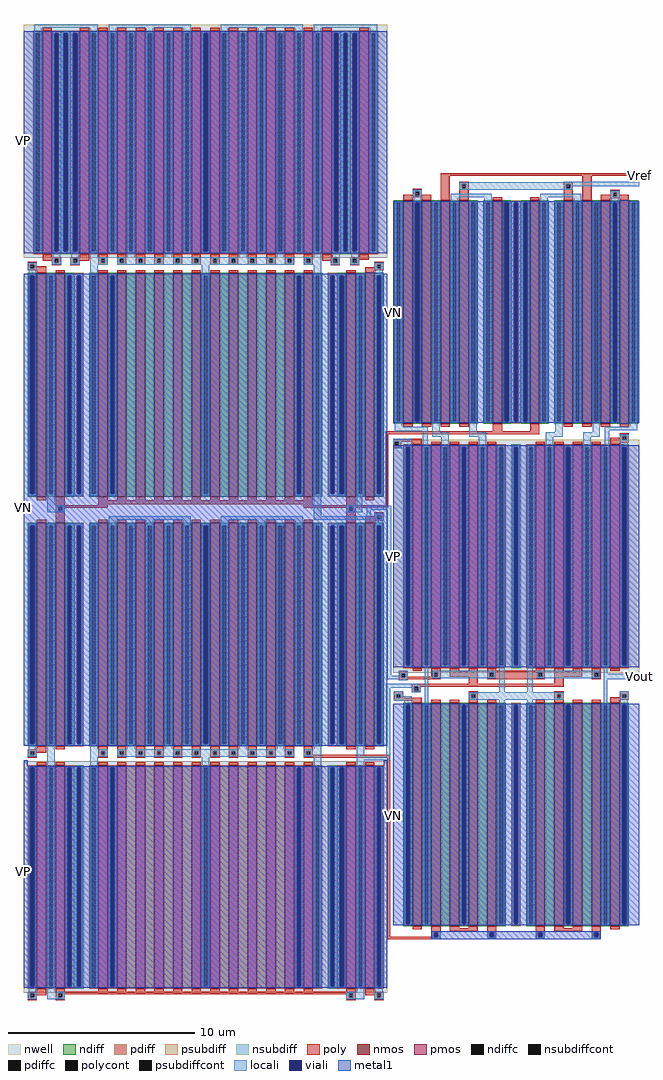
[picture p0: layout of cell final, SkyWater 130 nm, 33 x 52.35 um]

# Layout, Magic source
magic
tech sky130A
<< poly >>
rect 3240 4390 3290 4405
rect 1930 3005 2030 3020
rect 1930 2610 1945 3005
rect 1940 310 1955 1285
rect 1940 295 2060 310
<< locali >>
rect 3240 4335 3290 4360
rect 1940 1710 1960 2620
rect 1940 1690 2015 1710
rect 3240 1690 3290 1720
rect 1935 1645 2015 1665
rect 1935 1255 1955 1645
<< metal1 >>
rect -10 3975 10 5165
rect 1920 3975 1940 5165
rect -10 1365 10 3865
rect 1970 3065 1990 4255
rect 3270 3065 3290 4255
rect 1970 2715 1990 2945
rect 1970 1755 1990 2605
rect 3270 1755 3290 2945
rect -10 65 10 1255
rect 1920 65 1940 1255
rect 1970 370 1990 1560
rect 3270 370 3290 1560
use diff_amp  diff_amp_0
transform 1 0 2800 0 1 365
box -830 -70 490 4040
use v_gen  v_gen_0
transform 1 0 360 0 1 2530
box -370 -2560 1580 2675
<< labels >>
rlabel metal1 -10 4580 -10 4580 7 VP
rlabel metal1 -10 660 -10 660 7 VP
rlabel metal1 1970 2350 1970 2350 7 VP
rlabel metal1 -10 2610 -10 2610 7 VN
rlabel metal1 1970 960 1970 960 7 VN
rlabel metal1 1970 3660 1970 3660 7 VN
rlabel poly 3290 4395 3290 4395 3 Vref
rlabel locali 3290 4350 3290 4350 3 Vin
rlabel locali 3290 1705 3290 1705 3 Vout
<< end >>

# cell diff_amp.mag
magic
tech sky130A
<< nwell >>
rect -830 1360 490 2610
<< nmos >>
rect -775 2695 -725 3895
rect -675 2695 -625 3895
rect -575 2695 -525 3895
rect -475 2695 -425 3895
rect -295 2695 -245 3895
rect -95 2695 -45 3895
rect 85 2695 135 3895
rect 185 2695 235 3895
rect 285 2695 335 3895
rect 385 2695 435 3895
rect -725 0 -675 1200
rect -625 0 -575 1200
rect -525 0 -475 1200
rect -425 0 -375 1200
rect -325 0 -275 1200
rect -65 0 -15 1200
rect 35 0 85 1200
rect 135 0 185 1200
rect 235 0 285 1200
rect 335 0 385 1200
<< pmos >>
rect -725 1385 -675 2585
rect -625 1385 -575 2585
rect -525 1385 -475 2585
rect -425 1385 -375 2585
rect -325 1385 -275 2585
rect -65 1385 -15 2585
rect 35 1385 85 2585
rect 135 1385 185 2585
rect 235 1385 285 2585
rect 335 1385 385 2585
<< ndiff >>
rect -825 3880 -775 3895
rect -825 2710 -810 3880
rect -790 2710 -775 3880
rect -825 2695 -775 2710
rect -725 3880 -675 3895
rect -725 2710 -710 3880
rect -690 2710 -675 3880
rect -725 2695 -675 2710
rect -625 3880 -575 3895
rect -625 2710 -610 3880
rect -590 2710 -575 3880
rect -625 2695 -575 2710
rect -525 3880 -475 3895
rect -525 2710 -510 3880
rect -490 2710 -475 3880
rect -525 2695 -475 2710
rect -425 3880 -375 3895
rect -425 2710 -410 3880
rect -390 2710 -375 3880
rect -425 2695 -375 2710
rect -345 3880 -295 3895
rect -345 2710 -330 3880
rect -310 2710 -295 3880
rect -345 2695 -295 2710
rect -245 3880 -195 3895
rect -145 3880 -95 3895
rect -245 2710 -230 3880
rect -210 2710 -195 3880
rect -145 2710 -130 3880
rect -110 2710 -95 3880
rect -245 2695 -195 2710
rect -145 2695 -95 2710
rect -45 3880 5 3895
rect -45 2710 -30 3880
rect -10 2710 5 3880
rect -45 2695 5 2710
rect 35 3880 85 3895
rect 35 2710 50 3880
rect 70 2710 85 3880
rect 35 2695 85 2710
rect 135 3880 185 3895
rect 135 2710 150 3880
rect 170 2710 185 3880
rect 135 2695 185 2710
rect 235 3880 285 3895
rect 235 2710 250 3880
rect 270 2710 285 3880
rect 235 2695 285 2710
rect 335 3880 385 3895
rect 335 2710 350 3880
rect 370 2710 385 3880
rect 335 2695 385 2710
rect 435 3880 485 3895
rect 435 2710 450 3880
rect 470 2710 485 3880
rect 435 2695 485 2710
rect -775 1185 -725 1200
rect -775 15 -760 1185
rect -740 15 -725 1185
rect -775 0 -725 15
rect -675 1185 -625 1200
rect -675 15 -660 1185
rect -640 15 -625 1185
rect -675 0 -625 15
rect -575 0 -525 1200
rect -475 1185 -425 1200
rect -475 15 -460 1185
rect -440 15 -425 1185
rect -475 0 -425 15
rect -375 0 -325 1200
rect -275 1185 -225 1200
rect -275 15 -260 1185
rect -240 15 -225 1185
rect -275 0 -225 15
rect -115 1185 -65 1200
rect -115 15 -100 1185
rect -80 15 -65 1185
rect -115 0 -65 15
rect -15 0 35 1200
rect 85 1185 135 1200
rect 85 15 100 1185
rect 120 15 135 1185
rect 85 0 135 15
rect 185 0 235 1200
rect 285 1185 335 1200
rect 285 15 300 1185
rect 320 15 335 1185
rect 285 0 335 15
rect 385 1185 435 1200
rect 385 15 400 1185
rect 420 15 435 1185
rect 385 0 435 15
<< pdiff >>
rect -775 2570 -725 2585
rect -775 1400 -760 2570
rect -740 1400 -725 2570
rect -775 1385 -725 1400
rect -675 2570 -625 2585
rect -675 1400 -660 2570
rect -640 1400 -625 2570
rect -675 1385 -625 1400
rect -575 2570 -525 2585
rect -575 1400 -560 2570
rect -540 1400 -525 2570
rect -575 1385 -525 1400
rect -475 2570 -425 2585
rect -475 1400 -460 2570
rect -440 1400 -425 2570
rect -475 1385 -425 1400
rect -375 2570 -325 2585
rect -375 1400 -360 2570
rect -340 1400 -325 2570
rect -375 1385 -325 1400
rect -275 2570 -225 2585
rect -275 1400 -260 2570
rect -240 1400 -225 2570
rect -275 1390 -225 1400
rect -275 1385 -230 1390
rect -115 2570 -65 2585
rect -115 1400 -100 2570
rect -80 1400 -65 2570
rect -115 1385 -65 1400
rect -15 2570 35 2585
rect -15 1400 0 2570
rect 20 1400 35 2570
rect -15 1385 35 1400
rect 85 2570 135 2585
rect 85 1400 100 2570
rect 120 1400 135 2570
rect 85 1385 135 1400
rect 185 2570 235 2585
rect 185 1400 200 2570
rect 220 1400 235 2570
rect 185 1385 235 1400
rect 285 2570 335 2585
rect 285 1400 300 2570
rect 320 1400 335 2570
rect 285 1385 335 1400
rect 385 2570 435 2585
rect 385 1400 400 2570
rect 420 1400 435 2570
rect 385 1385 435 1400
<< ndiffc >>
rect -810 2710 -790 3880
rect -710 2710 -690 3880
rect -610 2710 -590 3880
rect -510 2710 -490 3880
rect -410 2710 -390 3880
rect -330 2710 -310 3880
rect -230 2710 -210 3880
rect -130 2710 -110 3880
rect -30 2710 -10 3880
rect 50 2710 70 3880
rect 150 2710 170 3880
rect 250 2710 270 3880
rect 350 2710 370 3880
rect 450 2710 470 3880
rect -760 15 -740 1185
rect -660 15 -640 1185
rect -460 15 -440 1185
rect -260 15 -240 1185
rect -100 15 -80 1185
rect 100 15 120 1185
rect 300 15 320 1185
rect 400 15 420 1185
<< pdiffc >>
rect -760 1400 -740 2570
rect -660 1400 -640 2570
rect -560 1400 -540 2570
rect -460 1400 -440 2570
rect -360 1400 -340 2570
rect -260 1400 -240 2570
rect -100 1400 -80 2570
rect 0 1400 20 2570
rect 100 1400 120 2570
rect 200 1400 220 2570
rect 300 1400 320 2570
rect 400 1400 420 2570
<< psubdiff >>
rect -195 3880 -145 3895
rect -195 2710 -180 3880
rect -160 2710 -145 3880
rect -195 2695 -145 2710
rect -195 1185 -145 1200
rect -195 15 -180 1185
rect -160 15 -145 1185
rect -195 0 -145 15
<< nsubdiff >>
rect -195 2570 -145 2585
rect -195 1400 -180 2570
rect -160 1400 -145 2570
rect -195 1385 -145 1400
<< psubdiffcont >>
rect -180 2710 -160 3880
rect -180 15 -160 1185
<< nsubdiffcont >>
rect -180 1400 -160 2570
<< poly >>
rect -575 4025 490 4040
rect -725 3940 -675 3955
rect -725 3925 -710 3940
rect -775 3920 -710 3925
rect -690 3925 -675 3940
rect -690 3920 -625 3925
rect -775 3910 -625 3920
rect -775 3895 -725 3910
rect -675 3895 -625 3910
rect -575 3895 -525 4025
rect -475 3980 -425 3995
rect -475 3960 -460 3980
rect -440 3960 -425 3980
rect -475 3895 -425 3960
rect 85 3980 135 3995
rect 85 3960 100 3980
rect 120 3960 135 3980
rect -295 3895 -245 3910
rect -95 3895 -45 3910
rect 85 3895 135 3960
rect 185 3895 235 4025
rect 335 3935 385 3950
rect 335 3925 350 3935
rect 285 3915 350 3925
rect 370 3925 385 3935
rect 370 3915 435 3925
rect 285 3905 435 3915
rect 285 3895 335 3905
rect 385 3895 435 3905
rect -775 2680 -725 2695
rect -675 2680 -625 2695
rect -575 2680 -525 2695
rect -475 2680 -425 2695
rect -295 2655 -245 2695
rect -95 2655 -45 2695
rect 85 2680 135 2695
rect 185 2680 235 2695
rect 285 2680 335 2695
rect 385 2680 435 2695
rect -830 2640 -45 2655
rect 385 2630 435 2645
rect 385 2620 400 2630
rect -830 2600 -675 2615
rect 335 2610 400 2620
rect 420 2610 435 2630
rect -830 2580 -820 2600
rect -800 2580 -785 2600
rect -725 2585 -675 2600
rect -625 2585 -575 2600
rect -525 2585 -475 2600
rect -425 2585 -375 2600
rect -325 2585 -275 2600
rect -65 2585 -15 2600
rect 35 2585 85 2600
rect 135 2585 185 2600
rect 235 2585 285 2600
rect 335 2595 435 2610
rect 335 2585 385 2595
rect -830 2565 -785 2580
rect -725 1370 -675 1385
rect -800 1355 -750 1370
rect -800 1335 -785 1355
rect -765 1340 -750 1355
rect -625 1360 -575 1385
rect -625 1340 -610 1360
rect -590 1340 -575 1360
rect -525 1370 -475 1385
rect -425 1370 -375 1385
rect -525 1340 -375 1370
rect -765 1335 -575 1340
rect -800 1325 -575 1335
rect -800 1320 -750 1325
rect -425 1300 -375 1340
rect -325 1370 -275 1385
rect -65 1370 -15 1385
rect -325 1360 -15 1370
rect -325 1340 -310 1360
rect -290 1340 -50 1360
rect -30 1340 -15 1360
rect -325 1325 -15 1340
rect 35 1370 85 1385
rect 135 1370 185 1385
rect 35 1340 185 1370
rect 235 1360 285 1385
rect 335 1370 385 1385
rect 235 1340 250 1360
rect 270 1340 285 1360
rect 35 1300 85 1340
rect 235 1325 285 1340
rect -730 1285 85 1300
rect -730 1265 -715 1285
rect -695 1265 -680 1285
rect -825 1245 -775 1260
rect -730 1255 -680 1265
rect -825 1225 -810 1245
rect -790 1225 -775 1245
rect -425 1245 -375 1260
rect -425 1225 -410 1245
rect -390 1225 -375 1245
rect -825 1210 -675 1225
rect -725 1200 -675 1210
rect -625 1200 -575 1215
rect -525 1200 -475 1215
rect -425 1200 -375 1225
rect 35 1245 85 1260
rect 35 1225 50 1245
rect 70 1225 85 1245
rect 385 1245 435 1260
rect 385 1230 400 1245
rect -325 1200 -275 1215
rect -65 1200 -15 1215
rect 35 1200 85 1225
rect 335 1225 400 1230
rect 420 1225 435 1245
rect 335 1215 435 1225
rect 135 1200 185 1215
rect 235 1200 285 1215
rect 335 1200 385 1215
rect -725 -15 -675 0
rect -625 -35 -575 0
rect -525 -10 -475 0
rect -425 -10 -375 0
rect -525 -25 -375 -10
rect -625 -55 -610 -35
rect -590 -55 -575 -35
rect -830 -70 -575 -55
rect -325 -35 -275 0
rect -325 -55 -310 -35
rect -290 -55 -275 -35
rect -325 -70 -275 -55
rect -65 -35 -15 0
rect 35 -10 85 0
rect 135 -10 185 0
rect 35 -25 185 -10
rect -65 -55 -50 -35
rect -30 -55 -15 -35
rect -65 -70 -15 -55
rect 235 -35 285 0
rect 335 -15 385 0
rect 235 -55 250 -35
rect 270 -55 285 -35
rect 235 -70 285 -55
<< polycont >>
rect -710 3920 -690 3940
rect -460 3960 -440 3980
rect 100 3960 120 3980
rect 350 3915 370 3935
rect 400 2610 420 2630
rect -820 2580 -800 2600
rect -785 1335 -765 1355
rect -610 1340 -590 1360
rect -310 1340 -290 1360
rect -50 1340 -30 1360
rect 250 1340 270 1360
rect -715 1265 -695 1285
rect -810 1225 -790 1245
rect -410 1225 -390 1245
rect 50 1225 70 1245
rect 400 1225 420 1245
rect -610 -55 -590 -35
rect -310 -55 -290 -35
rect -50 -55 -30 -35
rect 250 -55 270 -35
<< locali >>
rect 85 3990 490 3995
rect -475 3980 490 3990
rect -475 3960 -460 3980
rect -440 3960 100 3980
rect 120 3970 490 3980
rect 120 3960 135 3970
rect -475 3950 135 3960
rect -725 3940 -675 3950
rect -725 3920 -710 3940
rect -690 3920 -675 3940
rect 335 3935 385 3945
rect -725 3910 -675 3920
rect -520 3910 -300 3930
rect -820 3880 -780 3890
rect -820 2710 -810 3880
rect -790 2710 -780 3880
rect -820 2680 -780 2710
rect -720 3880 -680 3910
rect -720 2710 -710 3880
rect -690 2710 -680 3880
rect -720 2700 -680 2710
rect -620 3880 -580 3890
rect -620 2710 -610 3880
rect -590 2710 -580 3880
rect -820 2655 -645 2680
rect -830 2600 -730 2615
rect -830 2580 -820 2600
rect -800 2580 -730 2600
rect -830 2570 -730 2580
rect -830 2565 -760 2570
rect -770 1400 -760 2565
rect -740 1400 -730 2570
rect -770 1390 -730 1400
rect -670 2580 -645 2655
rect -620 2650 -580 2710
rect -520 3880 -480 3910
rect -520 2710 -510 3880
rect -490 2710 -480 3880
rect -520 2700 -480 2710
rect -420 3880 -380 3890
rect -420 2710 -410 3880
rect -390 2710 -380 3880
rect -420 2650 -380 2710
rect -340 3880 -300 3910
rect -40 3910 180 3930
rect -340 2710 -330 3880
rect -310 2710 -300 3880
rect -340 2700 -300 2710
rect -240 3880 -100 3890
rect -240 2710 -230 3880
rect -210 2710 -180 3880
rect -160 2710 -130 3880
rect -110 2710 -100 3880
rect -240 2700 -100 2710
rect -40 3880 0 3910
rect -40 2710 -30 3880
rect -10 2710 0 3880
rect -40 2700 0 2710
rect 40 3880 80 3890
rect 40 2710 50 3880
rect 70 2710 80 3880
rect 40 2650 80 2710
rect 140 3880 180 3910
rect 335 3915 350 3935
rect 370 3915 385 3935
rect 335 3905 385 3915
rect 140 2710 150 3880
rect 170 2710 180 3880
rect 140 2700 180 2710
rect 240 3880 280 3890
rect 240 2710 250 3880
rect 270 2710 280 3880
rect 240 2650 280 2710
rect 340 3880 380 3905
rect 340 2710 350 3880
rect 370 2710 380 3880
rect 340 2700 380 2710
rect 440 3880 480 3890
rect 440 2710 450 3880
rect 470 2710 480 3880
rect 440 2680 480 2710
rect -620 2625 -530 2650
rect -420 2625 -330 2650
rect -670 2570 -630 2580
rect -670 1400 -660 2570
rect -640 1400 -630 2570
rect -670 1390 -630 1400
rect -570 2570 -530 2625
rect -570 1400 -560 2570
rect -540 1400 -530 2570
rect -570 1390 -530 1400
rect -470 2570 -430 2580
rect -470 1400 -460 2570
rect -440 1400 -430 2570
rect -470 1390 -430 1400
rect -370 2570 -330 2625
rect -10 2625 80 2650
rect 190 2625 280 2650
rect 305 2660 480 2680
rect -370 1400 -360 2570
rect -340 1400 -330 2570
rect -370 1390 -330 1400
rect -270 2570 -230 2580
rect -270 1400 -260 2570
rect -240 1400 -230 2570
rect -270 1390 -230 1400
rect -190 2570 -150 2580
rect -190 1400 -180 2570
rect -160 1400 -150 2570
rect -190 1390 -150 1400
rect -110 2570 -70 2580
rect -110 1400 -100 2570
rect -80 1400 -70 2570
rect -110 1390 -70 1400
rect -10 2570 30 2625
rect -10 1400 0 2570
rect 20 1400 30 2570
rect -10 1390 30 1400
rect 90 2570 130 2580
rect 90 1400 100 2570
rect 120 1400 130 2570
rect 90 1390 130 1400
rect 190 2570 230 2625
rect 305 2580 330 2660
rect 385 2630 435 2640
rect 385 2610 400 2630
rect 420 2610 435 2630
rect 385 2595 435 2610
rect 190 1400 200 2570
rect 220 1400 230 2570
rect 190 1390 230 1400
rect 290 2570 330 2580
rect 290 1400 300 2570
rect 320 1400 330 2570
rect 290 1390 330 1400
rect 390 2570 430 2595
rect 390 1400 400 2570
rect 420 1400 430 2570
rect 390 1390 430 1400
rect -800 1355 -750 1370
rect -800 1345 -785 1355
rect -830 1335 -785 1345
rect -765 1335 -750 1355
rect -830 1325 -750 1335
rect -800 1320 -750 1325
rect -830 1285 -680 1300
rect -830 1280 -715 1285
rect -730 1265 -715 1280
rect -695 1265 -680 1285
rect -825 1245 -775 1260
rect -730 1255 -680 1265
rect -825 1225 -810 1245
rect -790 1235 -775 1245
rect -790 1225 -730 1235
rect -825 1210 -730 1225
rect -770 1185 -730 1210
rect -660 1195 -640 1390
rect -620 1360 -280 1370
rect -620 1340 -610 1360
rect -590 1340 -310 1360
rect -290 1340 -280 1360
rect -620 1330 -280 1340
rect -260 1255 -230 1390
rect -110 1255 -80 1390
rect -60 1360 280 1370
rect -60 1340 -50 1360
rect -30 1340 250 1360
rect 270 1340 280 1360
rect -60 1330 280 1340
rect 300 1355 320 1390
rect 300 1325 490 1355
rect -425 1245 85 1255
rect -425 1225 -410 1245
rect -390 1225 50 1245
rect 70 1225 85 1245
rect -425 1215 85 1225
rect -260 1195 -230 1215
rect -110 1195 -80 1215
rect 300 1195 320 1325
rect 385 1245 435 1260
rect 385 1225 400 1245
rect 420 1225 435 1245
rect 385 1215 435 1225
rect -770 15 -760 1185
rect -740 15 -730 1185
rect -770 5 -730 15
rect -670 1185 -630 1195
rect -670 15 -660 1185
rect -640 15 -630 1185
rect -670 5 -630 15
rect -470 1185 -430 1195
rect -470 15 -460 1185
rect -440 15 -430 1185
rect -470 5 -430 15
rect -270 1185 -230 1195
rect -270 15 -260 1185
rect -240 15 -230 1185
rect -270 5 -230 15
rect -190 1185 -150 1195
rect -190 15 -180 1185
rect -160 15 -150 1185
rect -190 5 -150 15
rect -110 1185 -70 1195
rect -110 15 -100 1185
rect -80 15 -70 1185
rect -110 5 -70 15
rect 90 1185 130 1195
rect 90 15 100 1185
rect 120 15 130 1185
rect 90 5 130 15
rect 290 1185 330 1195
rect 290 15 300 1185
rect 320 15 330 1185
rect 290 5 330 15
rect 390 1185 430 1215
rect 390 15 400 1185
rect 420 15 430 1185
rect 390 5 430 15
rect -625 -35 -575 -25
rect -625 -55 -610 -35
rect -590 -55 -575 -35
rect -625 -65 -575 -55
rect -325 -35 -275 -25
rect -325 -55 -310 -35
rect -290 -55 -275 -35
rect -325 -65 -275 -55
rect -65 -35 -15 -25
rect -65 -55 -50 -35
rect -30 -55 -15 -35
rect -65 -65 -15 -55
rect 235 -35 285 -25
rect 235 -55 250 -35
rect 270 -55 285 -35
rect 235 -65 285 -55
<< viali >>
rect -710 2710 -690 3880
rect -760 1400 -740 2570
rect -230 2710 -210 3880
rect -180 2710 -160 3880
rect -130 2710 -110 3880
rect 350 2710 370 3880
rect -460 1400 -440 2570
rect -180 1400 -160 2570
rect 100 1400 120 2570
rect 400 1400 420 2570
rect -760 15 -740 1185
rect -460 15 -440 1185
rect -180 15 -160 1185
rect 100 15 120 1185
rect 400 15 420 1185
rect -610 -55 -590 -35
rect -310 -55 -290 -35
rect -50 -55 -30 -35
rect 250 -55 270 -35
<< metal1 >>
rect 385 3890 435 3895
rect -830 3880 490 3890
rect -830 2710 -710 3880
rect -690 2710 -230 3880
rect -210 2710 -180 3880
rect -160 2710 -130 3880
rect -110 2710 350 3880
rect 370 2710 490 3880
rect -830 2700 490 2710
rect 385 2695 435 2700
rect -830 2570 490 2580
rect -830 1400 -760 2570
rect -740 1400 -460 2570
rect -440 1400 -180 2570
rect -160 1400 100 2570
rect 120 1400 400 2570
rect 420 1400 490 2570
rect -830 1390 490 1400
rect -830 1185 490 1195
rect -830 15 -760 1185
rect -740 15 -460 1185
rect -440 15 -180 1185
rect -160 15 100 1185
rect 120 15 400 1185
rect 420 15 490 1185
rect -830 5 490 15
rect -625 -35 285 -25
rect -625 -55 -610 -35
rect -590 -55 -310 -35
rect -290 -55 -50 -35
rect -30 -55 250 -35
rect 270 -55 285 -35
rect -625 -70 285 -55
<< labels >>
rlabel poly -830 2645 -830 2645 7 Vbn
port 1 w
rlabel metal1 -830 3295 -830 3295 7 VN
port 8 w
rlabel poly 490 4030 490 4030 3 Vref
port 3 w
rlabel locali 490 3985 490 3985 3 Vin
port 2 e
rlabel locali 490 1340 490 1340 3 Vout
port 7 e
rlabel locali -830 1290 -830 1290 7 Vbp
port 4 w
rlabel metal1 -830 1985 -830 1985 7 VP
port 9 w
rlabel poly -830 -60 -830 -60 7 Vcn
port 6 w
rlabel metal1 -830 595 -830 595 7 VN
port 10 w
rlabel locali -830 1335 -830 1335 7 Vcp
port 5 w
<< end >>

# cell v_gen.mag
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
